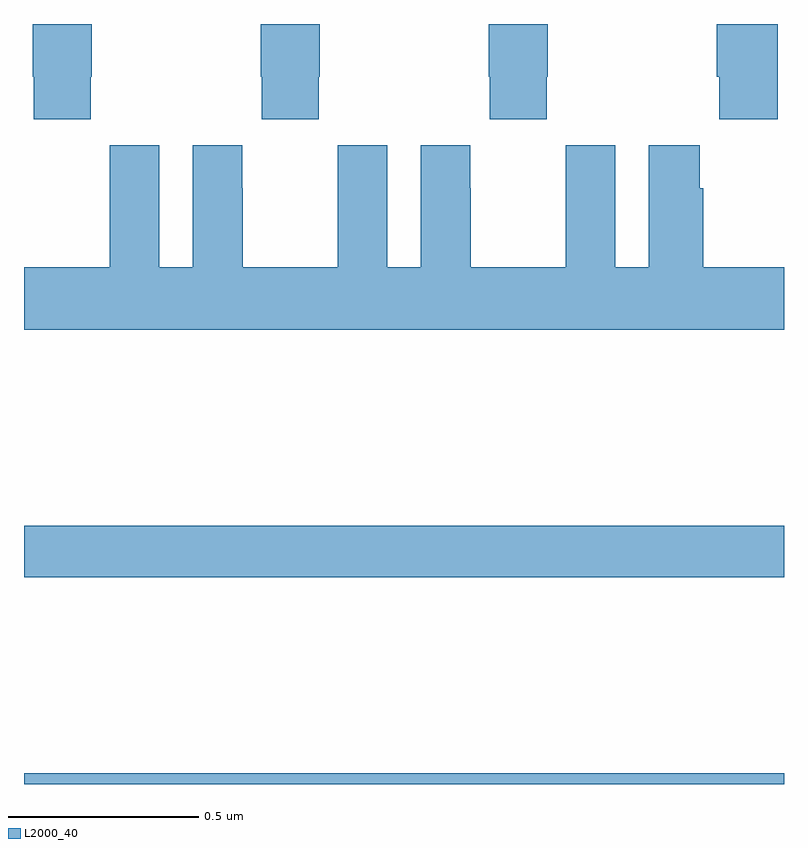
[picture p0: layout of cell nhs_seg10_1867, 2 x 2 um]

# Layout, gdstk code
import gdstk
lib = gdstk.Library(unit=1e-6, precision=1e-09)
def R(c, l, rs):  # rectangles x0, y0, x1, y1
    for r in rs: c.add(gdstk.rectangle(r[:2], r[2:], *l))
def P(c, l, *ps):  # polygons
    for p in ps: c.add(gdstk.Polygon(p, *l))
L2000_40 = (2000, 40)

nhs_seg10_1867 = lib.new_cell('nhs_seg10_1867')
R(nhs_seg10_1867, L2000_40, [(134,1252.5,136,1252.528), (134,1253.044,136,1253.18)])
P(nhs_seg10_1867, L2000_40, [(134.175,1254.361),(134.178,1254.361),(134.178,1254.5),(134.023,1254.5),(134.023,1254.361),(134.025,1254.361),(134.025,1254.249),(134.175,1254.249)],
  [(134.775,1254.361),(134.778,1254.361),(134.778,1254.5),(134.623,1254.5),(134.623,1254.361),(134.625,1254.361),(134.625,1254.249),(134.775,1254.249)],
  [(135.375,1254.361),(135.378,1254.361),(135.378,1254.5),(135.223,1254.5),(135.223,1254.361),(135.225,1254.361),(135.225,1254.249),(135.375,1254.249)],
  [(135.983,1254.5),(135.823,1254.5),(135.823,1254.361),(135.829,1254.361),(135.829,1254.249),(135.983,1254.249)],
  [(136,1253.86),(135.788,1253.86),(135.788,1254.068),(135.778,1254.068),(135.778,1254.181),(135.644,1254.181),(135.644,1253.86),(135.556,1253.86),(135.556,1254.181),(135.426,1254.181),(135.426,1254.068),(135.425,1254.068),(135.425,1253.86),(135.175,1253.86),(135.175,1254.068),(135.174,1254.068),(135.174,1254.181),(135.044,1254.181),(135.044,1253.86),(134.956,1253.86),(134.956,1254.181),(134.826,1254.181),(134.826,1254.068),(134.825,1254.068),(134.825,1253.86),(134.575,1253.86),(134.575,1254.068),(134.574,1254.068),(134.574,1254.181),(134.444,1254.181),(134.444,1253.86),(134.356,1253.86),(134.356,1254.181),(134.226,1254.181),(134.226,1254.068),(134.225,1254.068),(134.225,1253.86),(134,1253.86),(134,1253.696),(136,1253.696)])

lib.write_gds('nhs_seg10_1867.gds')
